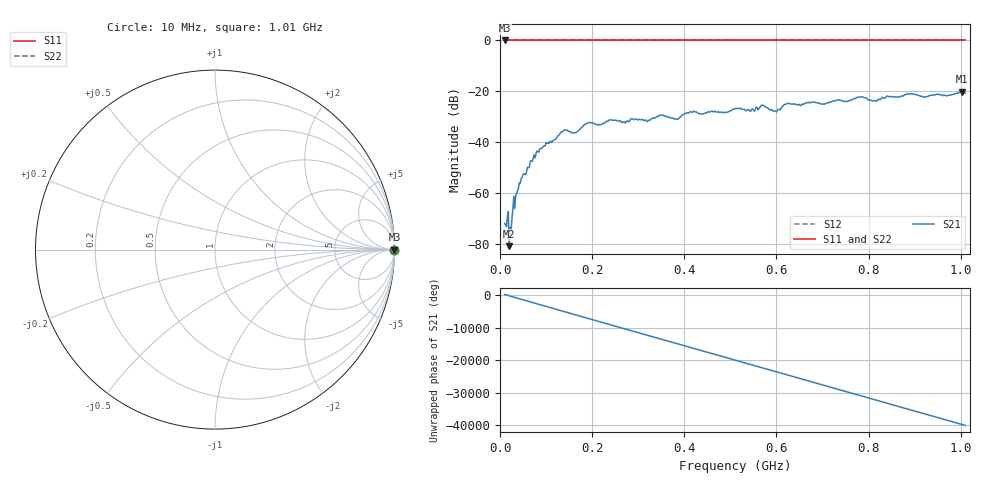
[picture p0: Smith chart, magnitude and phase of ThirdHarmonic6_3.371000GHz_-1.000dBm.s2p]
! 8/17/2025 10:41:36 AM
! C:\ANRITSUVNA\TEMP\TEMP.S2P
! CHANNEL.1
! TR.MEASUREMENT
! RAW.DATA
! RF.CORRECTION.OFF
! AVERAGING.OFF
! IF.BANDWIDTH: 5KHZ
! SWEEPTYPE:  FREQ.SWEEP(Linear)
! Reference Plane Port Info
! PORT:  PORT1  PORT2
! DISTANCE:  0  m  0  m
! TIME:  0  s  0  s
! PHASE.OFFSET:  0  deg.  0  deg.
! LOSS:  0  dB  0  dB
! REF.LOSS:  0  dB  0  dB
! REF.FREQ:  0  Hz  0  Hz
! Power Info
! POWER:  -20  dBm  -20  dBm
! EFF.POWER:  -20  dBm  -20  dBm
! SOURCE.ATTEN:  0  dB  0  dB
! TEST.ATTEN:  0  dB  0  dB
# GHZ S RI R 50.0
! FREQ.GHZ  S11RE  S11IM  S21RE  S21IM  S12RE  S12IM  S22RE  S22IM
!; PortSelection: Port_12
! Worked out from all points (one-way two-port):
!   501 points, 10 MHz to 1.01 GHz, reference 50 ohm
!   highest |S21| = -20.11 dB at 1.002 GHz (marker M1); lowest = -80.7 dB at 20 MHz (marker M2)
!   lowest |S11| = 0.0 dB at 10 MHz (marker M3)
!   |S11| at or under -10 dB: nowhere
!   |S22| runs from 0.0 to 0.0 dB; largest |S21 - S12| = 1.1
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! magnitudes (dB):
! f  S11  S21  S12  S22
! 10 MHz  0.0  -71.8  0.0  0.0
! 14 MHz  0.0  -73.0  0.0  0.0
! 20 MHz  0.0  -80.7  0.0  0.0
! 24 MHz  0.0  -74.9  0.0  0.0
! 32 MHz  0.0  -66.0  0.0  0.0
! 46 MHz  0.0  -54.2  0.0  0.0
! 78 MHz  0.0  -44.4  0.0  0.0
! 136 MHz  0.0  -35.8  0.0  0.0
! 162 MHz  0.0  -36.2  0.0  0.0
! 178 MHz  0.0  -33.9  0.0  0.0
! 344 MHz  0.0  -29.8  0.0  0.0
! 382 MHz  0.0  -30.8  0.0  0.0
! 416 MHz  0.0  -28.2  0.0  0.0
! 510 MHz  0.0  -26.8  0.0  0.0
! 548 MHz  0.0  -26.8  0.0  0.0
! 570 MHz  0.0  -25.4  0.0  0.0
! 596 MHz  0.0  -27.5  0.0  0.0
! 624 MHz  0.0  -24.7  0.0  0.0
! 678 MHz  0.0  -24.2  0.0  0.0
! 844 MHz  0.0  -22.0  0.0  0.0
! 1.002 GHz  0.0  -20.1  0.0  0.0
! 1.01 GHz  0.0  -20.7  0.0  0.0
